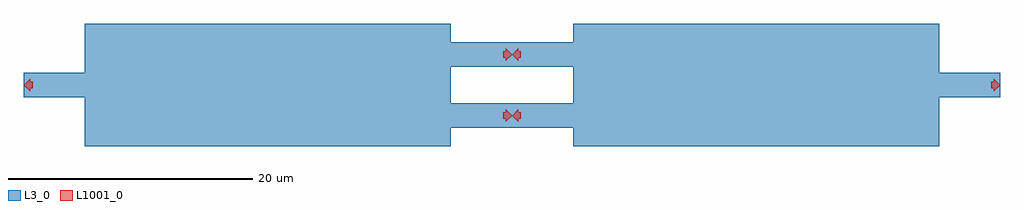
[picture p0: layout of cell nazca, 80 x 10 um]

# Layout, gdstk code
from math import pi, radians
import gdstk
lib = gdstk.Library(unit=1e-6, precision=1e-09)
def P(c, l, *ps):  # polygons
    for p in ps: c.add(gdstk.Polygon(p, *l))
L3_0 = (3, 0)
L1001_0 = (1001, 0)

building_block = lib.new_cell('building_block')
P(building_block, L3_0, [(5,-5),(5,-1),(0,-1),(0,1),(5,1),(5,5),(35,5),(35,3.5),(40,3.5),(40,1.5),(35,1.5),(35,-1.5),(40,-1.5),(40,-3.5),(35,-3.5),(35,-5)])
P(building_block, L1001_0, [(0,0),(0.5,0.5),(0.5,0.25),(0.7,0.25),(0.7,-0.25),(0.5,-0.25),(0.5,-0.5)],
  [(40,2.5),(39.5,2),(39.5,2.25),(39.3,2.25),(39.3,2.75),(39.5,2.75),(39.5,3)],
  [(40,-2.5),(39.5,-3),(39.5,-2.75),(39.3,-2.75),(39.3,-2.25),(39.5,-2.25),(39.5,-2)])
building_block.add(gdstk.Label('a0', (0.3,0), layer=1002, texttype=0))
building_block.add(gdstk.Label('b0', (39.7,2.5), layer=1002, texttype=0))
building_block.add(gdstk.Label('b1', (39.7,-2.5), layer=1002, texttype=0))

nazca = lib.new_cell('nazca')
nazca.add(gdstk.Reference(building_block, (0,0)))
nazca.add(gdstk.Reference(building_block, (80,0), rotation=pi))

lib.write_gds('nazca.gds')
